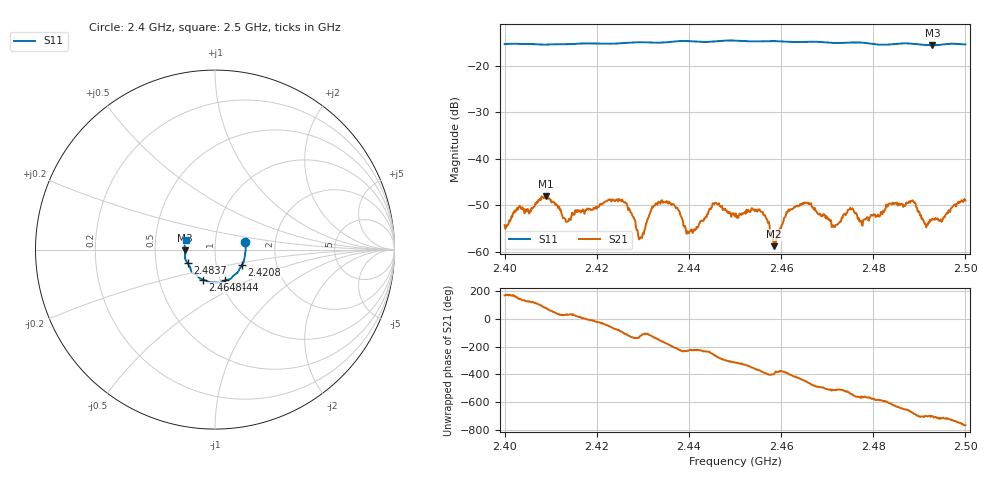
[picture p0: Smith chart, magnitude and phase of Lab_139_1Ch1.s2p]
# Hz S RI R 50
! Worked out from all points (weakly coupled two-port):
!   601 points, 2.4 GHz to 2.5 GHz, reference 50 ohm
!   highest |S21| = -48.05 dB at 2.409 GHz (marker M1); lowest = -58.8 dB at 2.4585 GHz (marker M2)
!   lowest |S11| = -15.6 dB at 2.4928 GHz (marker M3), VSWR 1.40, Z = 35.7 - j0.295 ohm
!   |S11| at or under -10 dB: start of sweep to end of sweep
!   S12 and S22 are empty: the file has one direction only
!   S11 on the Smith chart (normalised r, x): 2.4 GHz: 1.39, +0.12; 2.4208 GHz: 1.33, -0.24; 2.444 GHz: 1.05, -0.37; 2.4648 GHz: 0.83, -0.29; 2.4837 GHz: 0.73, -0.11; 2.5 GHz: 0.72, +0.08
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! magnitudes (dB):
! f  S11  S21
! 2.4 GHz  -15.3  -54.3
! 2.409 GHz  -15.4  -48.0
! 2.4133 GHz  -15.3  -53.5
! 2.4167 GHz  -15.2  -51.1
! 2.4208 GHz  -15.2  -49.7
! 2.426 GHz  -15.1  -49.4
! 2.4295 GHz  -14.9  -56.9
! 2.4333 GHz  -15.0  -49.3
! 2.437 GHz  -14.8  -50.2
! 2.4398 GHz  -14.7  -55.9
! 2.444 GHz  -14.9  -51.8
! 2.45 GHz  -14.6  -52.3
! 2.4555 GHz  -14.7  -51.3
! 2.4585 GHz  -14.7  -58.8
! 2.4615 GHz  -14.8  -51.2
! 2.4648 GHz  -14.9  -49.7
! 2.4667 GHz  -14.8  -50.3
! 2.4715 GHz  -15.1  -54.7
! 2.4833 GHz  -15.4  -49.7
! 2.4837 GHz  -15.4  -49.6
! 2.4928 GHz  -15.6  -52.9
! 2.5 GHz  -15.4  -49.0
